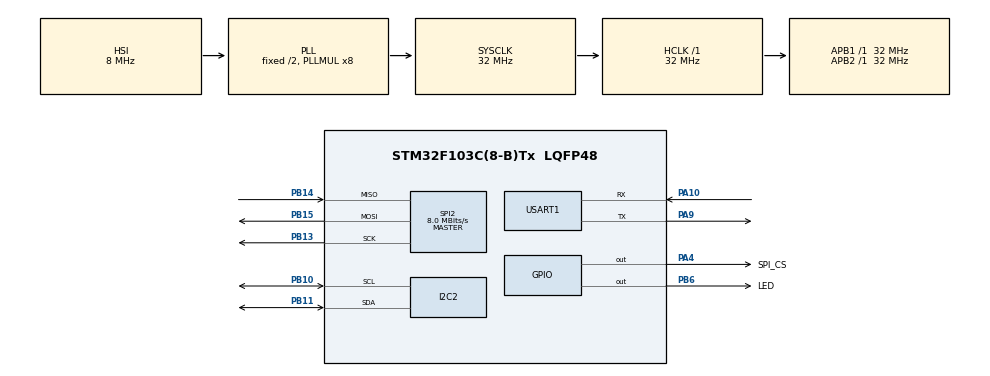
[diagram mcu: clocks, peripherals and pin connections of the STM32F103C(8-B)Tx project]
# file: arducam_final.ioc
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Mcu.Family=STM32F1
Mcu.Name=STM32F103C(8-B)Tx
Mcu.Package=LQFP48
NVIC.PriorityGroup=NVIC_PRIORITYGROUP_4
PA10.Mode=Asynchronous
PA10.Signal=USART1_RX
PA13.Mode=Serial_Wire
PA13.Signal=SYS_JTMS-SWDIO
PA14.Mode=Serial_Wire
PA14.Signal=SYS_JTCK-SWCLK
PA4.GPIO_Label=SPI_CS
PA4.Signal=GPIO_Output
PA9.Mode=Asynchronous
PA9.Signal=USART1_TX
PB10.Mode=I2C
PB10.Signal=I2C2_SCL
PB11.Mode=I2C
PB11.Signal=I2C2_SDA
PB13.Mode=Full_Duplex_Master
PB13.Signal=SPI2_SCK
PB14.Mode=Full_Duplex_Master
PB14.Signal=SPI2_MISO
PB15.Mode=Full_Duplex_Master
PB15.Signal=SPI2_MOSI
PB6.GPIO_Label=LED
PB6.Signal=GPIO_Output
ProjectManager.HeapSize=0x200
ProjectManager.StackSize=0x400
ProjectManager.TargetToolchain=STM32CubeIDE
RCC.AHBFreq_Value=32000000
RCC.APB1Freq_Value=32000000
RCC.APB1TimFreq_Value=32000000
RCC.APB2Freq_Value=32000000
RCC.APB2TimFreq_Value=32000000
RCC.HCLKFreq_Value=32000000
RCC.PLLMUL=RCC_PLL_MUL8
RCC.SYSCLKFreq_VALUE=32000000
RCC.SYSCLKSource=RCC_SYSCLKSOURCE_PLLCLK
RCC.USBFreq_Value=32000000
SPI2.BaudRatePrescaler=SPI_BAUDRATEPRESCALER_4
SPI2.CalculateBaudRate=8.0 MBits/s
SPI2.Direction=SPI_DIRECTION_2LINES
SPI2.Mode=SPI_MODE_MASTER
SPI2.VirtualType=VM_MASTER
USART1.VirtualMode=VM_ASYNC
board=custom

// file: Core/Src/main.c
/* USER CODE BEGIN Header */
/**
  ******************************************************************************
  * @file           : main.c
  * @brief          : Main program body
  ******************************************************************************
  * @attention
  *
  * <h2><center>&copy; Copyright (c) 2024 STMicroelectronics.
  * All rights reserved.</center></h2>
  *
  * This software component import binascii
from PIL import Image

def hex_to_image(hex_file, image_file):
    # Open the hex file
    with open(hex_file, 'r') as f:
        hex_data = f.read()

    # Remove any whitespace or newline characters
    hex_data = hex_data.replace(' ', '').replace('\n', '')

    # Convert hex to bytes
    binary_data = binascii.unhexlify(hex_data)

    # Save the binary data to an image file
    with open(image_file, 'wb') as img_file:
        img_file.write(binary_data)

    print(f"Image extracted from {hex_file} and saved as {image_file}")

# Usage
hex_file = 'image.hex'
image_file = 'output_image.jpg'
hex_to_image(hex_file, image_file)
  * is licensed by ST under BSD 3-Clause license,
  * the "License"; You may not use this file except in compliance with the
  * License. You may obtain a copy of the License at:
  *                        opensource.org/licenses/BSD-3-Clause
  *
  ******************************************************************************
  */
/* USER CODE END Header */
#include "main.h"

/* USER CODE BEGIN Includes */
#include <ArduCAM.h>
#include <stdio.h>
//#include "ov5642_regs.h"
/* USER CODE END Includes */

I2C_HandleTypeDef hi2c2;

SPI_HandleTypeDef hspi2;

UART_HandleTypeDef huart1;

void SystemClock_Config(void);
static void MX_GPIO_Init(void);
static void MX_USART1_UART_Init(void);
static void MX_I2C2_Init(void);
static void MX_SPI2_Init(void);

/* USER CODE BEGIN 0 */
int _write(int file, char *ptr, int len)
{
	HAL_UART_Transmit(&huart1, (uint8_t*)ptr, len, 100);
	return len;
}
/* USER CODE END 0 */

int main(void)
{
  /* USER CODE BEGIN 1 */
	uint8_t vid, pid;

  /* USER CODE END 1 */

  /* MCU Configuration--------------------------------------------------------*/

  /* Reset of all peripherals, Initializes the Flash interface and the Systick. */
  HAL_Init();

  /* Configure the system clock */
  SystemClock_Config();

  /* Initialize all configured peripherals */
  MX_GPIO_Init();
  MX_USART1_UART_Init();
  MX_I2C2_Init();
  MX_SPI2_Init();
  /* USER CODE BEGIN 2 */
HAL_GPIO_WritePin(SPI_CS_GPIO_Port, SPI_CS_Pin, GPIO_PIN_SET);
write_reg(0x07, 0x80);
HAL_Delay(100);
write_reg(0x07, 0x00);
HAL_Delay(100);
  /* USER CODE END 2 */

uint8_t buf;
CS_LOW();
write_reg(ARDUCHIP_TEST1, 0x55);
buf= read_reg(ARDUCHIP_TEST1);
//uint8_t reg= 0x80 | ARDUCHIP_TEST1;
//HAL_SPI_Transmit(&hspi2, &reg, 1, 100);
////HAL_SPI_Transmit(&hspi2, 0x00, 1, 100);
//HAL_SPI_Receive(&hspi2, &temp, 1, 100);
CS_HIGH();
if (buf != 0x55)
{
	printf("ACK CMD SPI interface Error!\n");
	printf("%x\n", buf);
	HAL_Delay(1000);
}
else
{
	printf("ACK CMD SPI interface OK!\r\n");
}
wrSensorReg16_8(0xff, 0x01);
HAL_I2C_Master_Transmit(&hi2c2, OV5642_ADD_WRITE, OV5642_CHIPID_HIGH, 2, 100);
HAL_I2C_Mem_Read(&hi2c2, OV5642_ADD_READ, OV5642_CHIPID_HIGH, sizeof(OV5642_CHIPID_HIGH), &vid, 1, 100);
//rdSensorReg16_8(OV5642_CHIPID_HIGH, &vid);
rdSensorReg16_8(OV5642_CHIPID_LOW, &pid);
if ((vid != 0x56) || (pid != 0x42))
{
	printf("ACK CMD Can't find OV5642 module!\r\n");
	printf("%x ",vid);
	printf("%x\n",pid);
}
else
{
 printf("ACK CMD OV5642 detected.\r\n");

  /* USER CODE BEGIN 3 */
}

set_format(JPEG);
ArduCAM_Init();
write_reg(ARDUCHIP_TIM, VSYNC_LEVEL_MASK);
clear_fifo_flag();
write_reg(ARDUCHIP_FRAMES,0x00);
//set_bit(ARDUCHIP_GPIO,GPIO_PWDN_MASK);
  /* Infinite loop */
  /* USER CODE BEGIN WHILE */
printf("End of setup\n");
while(1)
	{
	 uint8_t temp = 0xff, temp_last = 0;
//	 clear_bit(ARDUCHIP_GPIO,GPIO_PWDN_MASK);

	 OV5642_set_JPEG_size(O5642_640x480);
	 printf("ACK CMD switch to OV5642_640x480\n");
	 HAL_Delay(100);
	 flush_fifo();
	 clear_fifo_flag();
	  //start capture
	 write_reg(ARDUCHIP_FIFO, FIFO_START_MASK);
	 if(get_bit(ARDUCHIP_TRIG, CAP_DONE_MASK))
	  {
	    char buff[30]="ACK CMD CAM Capture Done.\n";
	    temp=0;
	    uint32_t a=640*480*2,i;
	    uint8_t buf[a];
	    HAL_UART_Transmit(&huart1, buff, sizeof(buff), 100);
//	    printf("ACK IMG");

	    do
	    {
	    	temp_last = temp;
		    temp= read_fifo();
		    for(i=0;i<a;i++)
		    {
		    	buf[i]=temp;

		    }
		    HAL_UART_Transmit(&huart1, buf, sizeof(buf), 500);
		    HAL_Delay(15);
	    }
	    while( (temp != 0xD9) | (temp_last != 0xFF) );

	    //Clear the capture done flag
	    clear_fifo_flag();
	  }
	 else
	 {
		 printf("capture not done properly\n");
		 HAL_Delay(2000);
	 }
	 printf("\n");
	 HAL_Delay(20000);
	}
  /* USER CODE END 3 */
}

void SystemClock_Config(void)
{
  RCC_OscInitTypeDef RCC_OscInitStruct = {0};
  RCC_ClkInitTypeDef RCC_ClkInitStruct = {0};

  /** Initializes the RCC Oscillators according to the specified parameters
  * in the RCC_OscInitTypeDef structure.
  */
  RCC_OscInitStruct.OscillatorType = RCC_OSCILLATORTYPE_HSI;
  RCC_OscInitStruct.HSIState = RCC_HSI_ON;
  RCC_OscInitStruct.HSICalibrationValue = RCC_HSICALIBRATION_DEFAULT;
  RCC_OscInitStruct.PLL.PLLState = RCC_PLL_ON;
  RCC_OscInitStruct.PLL.PLLSource = RCC_PLLSOURCE_HSI_DIV2;
  RCC_OscInitStruct.PLL.PLLMUL = RCC_PLL_MUL8;
  if (HAL_RCC_OscConfig(&RCC_OscInitStruct) != HAL_OK)
  {
    Error_Handler();
  }
  /** Initializes the CPU, AHB and APB buses clocks
  */
  RCC_ClkInitStruct.ClockType = RCC_CLOCKTYPE_HCLK|RCC_CLOCKTYPE_SYSCLK
                              |RCC_CLOCKTYPE_PCLK1|RCC_CLOCKTYPE_PCLK2;
  RCC_ClkInitStruct.SYSCLKSource = RCC_SYSCLKSOURCE_PLLCLK;
  RCC_ClkInitStruct.AHBCLKDivider = RCC_SYSCLK_DIV1;
  RCC_ClkInitStruct.APB1CLKDivider = RCC_HCLK_DIV1;
  RCC_ClkInitStruct.APB2CLKDivider = RCC_HCLK_DIV1;

  if (HAL_RCC_ClockConfig(&RCC_ClkInitStruct, FLASH_LATENCY_1) != HAL_OK)
  {
    Error_Handler();
  }
}

static void MX_I2C2_Init(void)
{

  hi2c2.Instance = I2C2;
  hi2c2.Init.ClockSpeed = 100000;
  hi2c2.Init.DutyCycle = I2C_DUTYCYCLE_2;
  hi2c2.Init.OwnAddress1 = 0;
  hi2c2.Init.AddressingMode = I2C_ADDRESSINGMODE_7BIT;
  hi2c2.Init.DualAddressMode = I2C_DUALADDRESS_DISABLE;
  hi2c2.Init.OwnAddress2 = 0;
  hi2c2.Init.GeneralCallMode = I2C_GENERALCALL_DISABLE;
  hi2c2.Init.NoStretchMode = I2C_NOSTRETCH_DISABLE;
  if (HAL_I2C_Init(&hi2c2) != HAL_OK)
  {
    Error_Handler();
  }

}

static void MX_SPI2_Init(void)
{

  /* SPI2 parameter configuration*/
  hspi2.Instance = SPI2;
  hspi2.Init.Mode = SPI_MODE_MASTER;
  hspi2.Init.Direction = SPI_DIRECTION_2LINES;
  hspi2.Init.DataSize = SPI_DATASIZE_8BIT;
  hspi2.Init.CLKPolarity = SPI_POLARITY_LOW;
  hspi2.Init.CLKPhase = SPI_PHASE_1EDGE;
  hspi2.Init.NSS = SPI_NSS_SOFT;
  hspi2.Init.BaudRatePrescaler = SPI_BAUDRATEPRESCALER_4;
  hspi2.Init.FirstBit = SPI_FIRSTBIT_MSB;
  hspi2.Init.TIMode = SPI_TIMODE_DISABLE;
  hspi2.Init.CRCCalculation = SPI_CRCCALCULATION_DISABLE;
  hspi2.Init.CRCPolynomial = 10;
  if (HAL_SPI_Init(&hspi2) != HAL_OK)
  {
    Error_Handler();
  }

}

static void MX_USART1_UART_Init(void)
{

  huart1.Instance = USART1;
  huart1.Init.BaudRate = 115200;
  huart1.Init.WordLength = UART_WORDLENGTH_8B;
  huart1.Init.StopBits = UART_STOPBITS_1;
  huart1.Init.Parity = UART_PARITY_NONE;
  huart1.Init.Mode = UART_MODE_TX_RX;
  huart1.Init.HwFlowCtl = UART_HWCONTROL_NONE;
  huart1.Init.OverSampling = UART_OVERSAMPLING_16;
  if (HAL_UART_Init(&huart1) != HAL_OK)
  {
    Error_Handler();
  }

}

static void MX_GPIO_Init(void)
{
  GPIO_InitTypeDef GPIO_InitStruct = {0};

  /* GPIO Ports Clock Enable */
  __HAL_RCC_GPIOA_CLK_ENABLE();
  __HAL_RCC_GPIOB_CLK_ENABLE();

  /*Configure GPIO pin Output Level */
  HAL_GPIO_WritePin(SPI_CS_GPIO_Port, SPI_CS_Pin, GPIO_PIN_RESET);

  /*Configure GPIO pin Output Level */
  HAL_GPIO_WritePin(LED_GPIO_Port, LED_Pin, GPIO_PIN_RESET);

  /*Configure GPIO pin : SPI_CS_Pin */
  GPIO_InitStruct.Pin = SPI_CS_Pin;
  GPIO_InitStruct.Mode = GPIO_MODE_OUTPUT_PP;
  GPIO_InitStruct.Pull = GPIO_NOPULL;
  GPIO_InitStruct.Speed = GPIO_SPEED_FREQ_LOW;
  HAL_GPIO_Init(SPI_CS_GPIO_Port, &GPIO_InitStruct);

  /*Configure GPIO pin : LED_Pin */
  GPIO_InitStruct.Pin = LED_Pin;
  GPIO_InitStruct.Mode = GPIO_MODE_OUTPUT_PP;
  GPIO_InitStruct.Pull = GPIO_NOPULL;
  GPIO_InitStruct.Speed = GPIO_SPEED_FREQ_LOW;
  HAL_GPIO_Init(LED_GPIO_Port, &GPIO_InitStruct);

}

void Error_Handler(void)
{
  __disable_irq();
  while (1)
  {
  }
}

/************************ (C) COPYRIGHT STMicroelectronics *****END OF FILE****/
